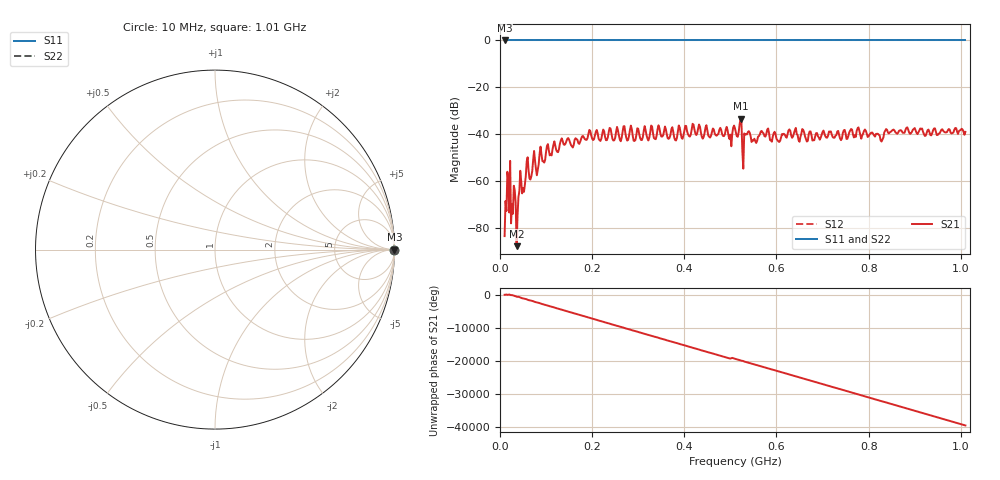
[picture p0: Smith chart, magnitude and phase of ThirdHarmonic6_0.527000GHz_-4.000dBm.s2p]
! 8/15/2025 4:19:23 PM
! C:\ANRITSUVNA\TEMP\TEMP.S2P
! CHANNEL.1
! TR.MEASUREMENT
! RAW.DATA
! RF.CORRECTION.OFF
! AVERAGING.OFF
! IF.BANDWIDTH: 5KHZ
! SWEEPTYPE:  FREQ.SWEEP(Linear)
! Reference Plane Port Info
! PORT:  PORT1  PORT2
! DISTANCE:  0  m  0  m
! TIME:  0  s  0  s
! PHASE.OFFSET:  0  deg.  0  deg.
! LOSS:  0  dB  0  dB
! REF.LOSS:  0  dB  0  dB
! REF.FREQ:  0  Hz  0  Hz
! Power Info
! POWER:  -20  dBm  -20  dBm
! EFF.POWER:  -20  dBm  -20  dBm
! SOURCE.ATTEN:  0  dB  0  dB
! TEST.ATTEN:  0  dB  0  dB
# GHZ S RI R 50.0
! FREQ.GHZ  S11RE  S11IM  S21RE  S21IM  S12RE  S12IM  S22RE  S22IM
!; PortSelection: Port_12
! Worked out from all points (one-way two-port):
!   501 points, 10 MHz to 1.01 GHz, reference 50 ohm
!   highest |S21| = -33.51 dB at 522 MHz (marker M1); lowest = -88.0 dB at 36 MHz (marker M2)
!   lowest |S11| = 0.0 dB at 10 MHz (marker M3)
!   |S11| at or under -10 dB: nowhere
!   |S22| runs from 0.0 to 0.0 dB; largest |S21 - S12| = 1
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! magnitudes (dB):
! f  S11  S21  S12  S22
! 10 MHz  0.0  -83.7  0.0  0.0
! 18 MHz  0.0  -59.5  0.0  0.0
! 24 MHz  0.0  -78.2  0.0  0.0
! 36 MHz  0.0  -88.0  0.0  0.0
! 44 MHz  0.0  -55.7  0.0  0.0
! 60 MHz  0.0  -49.9  0.0  0.0
! 66 MHz  0.0  -59.5  0.0  0.0
! 74 MHz  0.0  -47.3  0.0  0.0
! 80 MHz  0.0  -57.6  0.0  0.0
! 104 MHz  0.0  -44.3  0.0  0.0
! 178 MHz  0.0  -41.1  0.0  0.0
! 344 MHz  0.0  -36.3  0.0  0.0
! 500 MHz  0.0  -40.3  0.0  0.0
! 510 MHz  0.0  -37.6  0.0  0.0
! 522 MHz  0.0  -33.5  0.0  0.0
! 530 MHz  0.0  -39.8  0.0  0.0
! 538 MHz  0.0  -39.2  0.0  0.0
! 554 MHz  0.0  -43.1  0.0  0.0
! 568 MHz  0.0  -38.7  0.0  0.0
! 678 MHz  0.0  -42.8  0.0  0.0
! 844 MHz  0.0  -39.8  0.0  0.0
! 1.01 GHz  0.0  -39.1  0.0  0.0
